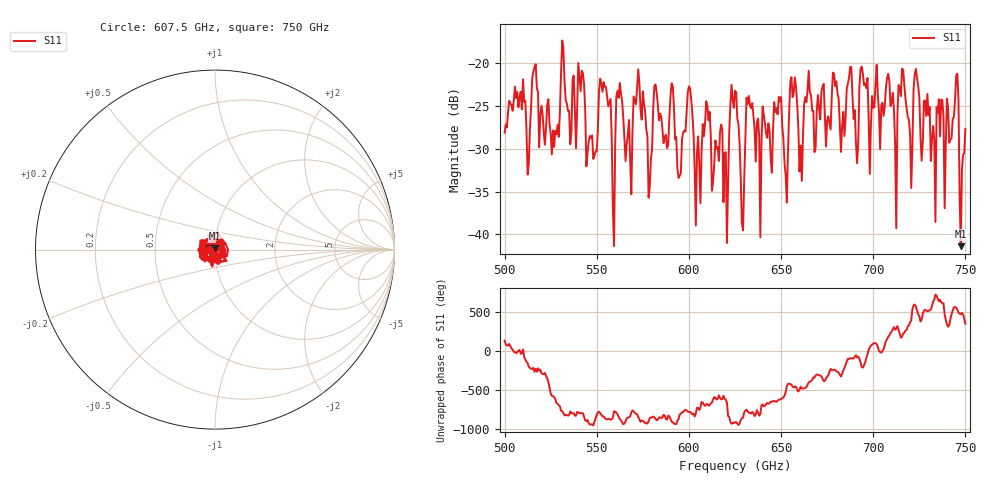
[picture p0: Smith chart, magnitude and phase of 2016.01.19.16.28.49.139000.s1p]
!Created with skrf (http://scikit-rf.org).
# GHz S RI R 50.0
!freq ReS11 ImS11
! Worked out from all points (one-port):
!   401 points, 500 GHz to 750 GHz, reference 50 ohm
!   lowest |S11| = -41.4 dB at 747.5 GHz (marker M1), VSWR 1.02, Z = 49.8 + j0.818 ohm
!   |S11| at or under -10 dB: start of sweep to end of sweep
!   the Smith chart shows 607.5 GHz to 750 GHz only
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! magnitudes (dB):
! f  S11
! 500 GHz  -28.1
! 513.1 GHz  -31.7
! 516.2 GHz  -20.4
! 526.9 GHz  -29.8
! 531.2 GHz  -17.3
! 548.8 GHz  -30.8
! 553.8 GHz  -22.2
! 558.8 GHz  -37.2
! 562.5 GHz  -22.3
! 578.8 GHz  -34.4
! 590.6 GHz  -22.3
! 593.8 GHz  -32.3
! 600.6 GHz  -22.9
! 605 GHz  -28.5
! 610 GHz  -24.9
! 620 GHz  -30.4
! 625 GHz  -23.2
! 628.8 GHz  -38.7
! 632.5 GHz  -23.8
! 652.5 GHz  -33.1
! 656.2 GHz  -23.9
! 660.6 GHz  -29.6
! 687.5 GHz  -20.4
! 718.8 GHz  -26.3
! 732.5 GHz  -27.3
! 745 GHz  -21.4
! 747.5 GHz  -41.4
! 750 GHz  -27.6
